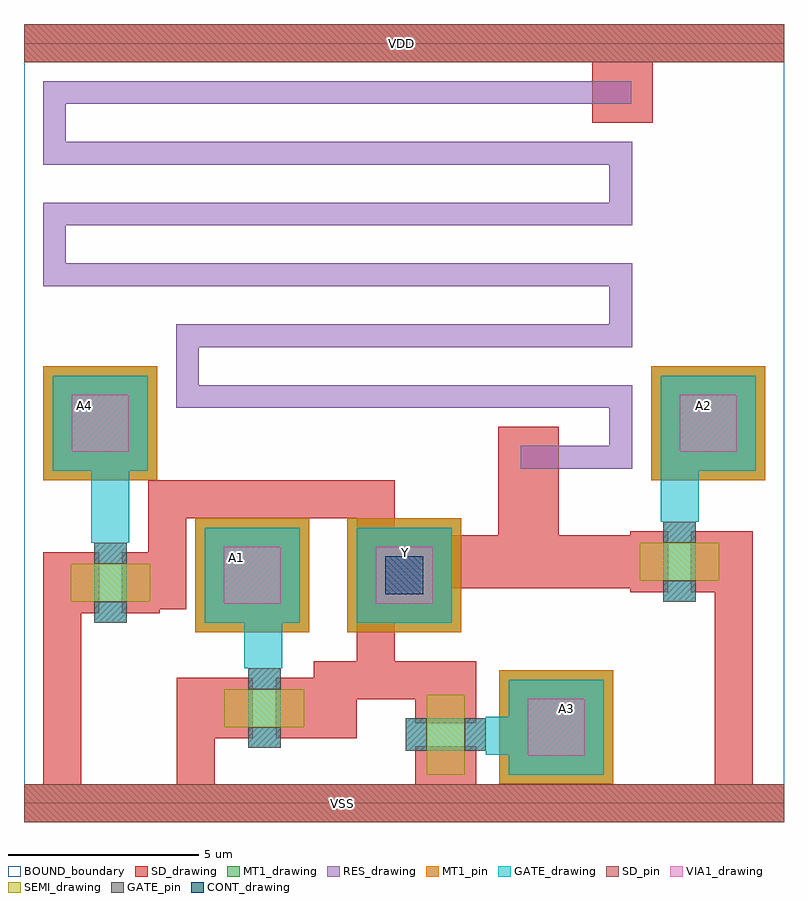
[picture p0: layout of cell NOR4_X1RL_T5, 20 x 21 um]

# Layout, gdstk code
from math import pi, radians
import gdstk
lib = gdstk.Library(unit=1e-6, precision=1e-09)
def R(c, l, rs):  # rectangles x0, y0, x1, y1
    for r in rs: c.add(gdstk.rectangle(r[:2], r[2:], *l))
def P(c, l, *ps):  # polygons
    for p in ps: c.add(gdstk.Polygon(p, *l))
RES_drawing = (1, 0)
SEMI_drawing = (3, 0)
SD_drawing = (10, 0)
SD_pin = (10, 3)
GATE_drawing = (11, 0)
GATE_pin = (11, 3)
MT1_drawing = (20, 0)
MT1_pin = (20, 3)
CONT_drawing = (30, 0)
VIA1_drawing = (41, 0)
BOUND_boundary = (150, 5)

nch_cdns_772545080480 = lib.new_cell('nch_CDNS_772545080480')
R(nch_cdns_772545080480, SEMI_drawing, [(-1.05,-0.5,1.05,0.5)])
R(nch_cdns_772545080480, SD_drawing, [(-1.3,-0.8,-0.3,0.8), (0.3,-0.8,1.3,0.8)])
R(nch_cdns_772545080480, GATE_drawing, [(-0.425,-1.05,0.425,1.05)])
R(nch_cdns_772545080480, GATE_pin, [(-0.425,-1.05,0.425,-0.5), (-0.425,0.5,0.425,1.05)])

gate_mt1_cdns_7725450804 = lib.new_cell('GATE_MT1_CDNS_772545080480')
R(gate_mt1_cdns_7725450804, GATE_drawing, [(-1.25,-1.25,1.25,1.25)])
R(gate_mt1_cdns_7725450804, MT1_drawing, [(-1.25,-1.25,1.25,1.25)])
R(gate_mt1_cdns_7725450804, VIA1_drawing, [(-0.75,-0.75,0.75,0.75)])

sd_gate_cdns_77254508048 = lib.new_cell('SD_GATE_CDNS_772545080481')
R(sd_gate_cdns_77254508048, SD_drawing, [(-1.25,-1.25,1.25,1.25)])
R(sd_gate_cdns_77254508048, GATE_drawing, [(-1.25,-1.25,1.25,1.25)])
R(sd_gate_cdns_77254508048, CONT_drawing, [(-0.5,-0.5,0.5,0.5)])

nor4_x1rl_t5 = lib.new_cell('NOR4_X1RL_T5')
R(nor4_x1rl_t5, SD_drawing, [(0,-0.5,20,0.5), (0.5,0.5,1.5,6.6), (4.025,0.5,5.025,3.3), (18.175,0.5,19.175,7.15), (7.625,1.7,8.75,3.725), (8.75,2.725,11.9,3.725), (3.275,5.1,4.275,8.5), (8.75,7.25,9.75,8.5), (3.275,7.5,9.75,8.5), (12.475,8.3,14.075,9.9), (14.95,17.9,16.55,19.5), (0,19.5,20,20.5)])
R(nor4_x1rl_t5, SD_pin, [(0,-0.5,20,0.5), (0,19.5,20,20.5)])
P(nor4_x1rl_t5, GATE_drawing, [(12.25,1.275),(12.25,2.275),(12.15,2.275),(12.15,2.175),(12.1,2.175),(12.1,1.425),(12.15,1.425),(12.15,1.275)],
  [(17.75,7.5),(16.75,7.5),(16.75,7.4),(16.875,7.4),(16.875,7.35),(17.625,7.35),(17.625,7.4),(17.75,7.4)],
  [(6.8,3.65),(5.8,3.65),(5.8,3.55),(5.95,3.55),(5.95,3.5),(6.7,3.5),(6.7,3.55),(6.8,3.55)],
  [(2.775,6.95),(1.775,6.95),(1.775,6.85),(1.9,6.85),(1.9,6.8),(2.65,6.8),(2.65,6.85),(2.775,6.85)])
R(nor4_x1rl_t5, MT1_drawing, [(12.5,0.5,15.5,3.5), (4.5,4.5,7.5,7.5), (8.5,4.5,11.5,7.5), (0.5,8.5,3.5,11.5), (16.5,8.5,19.5,11.5)])
R(nor4_x1rl_t5, MT1_pin, [(12.5,0.5,15.5,3.5), (4.5,4.5,7.5,7.5), (8.5,4.5,11.5,7.5), (0.5,8.5,3.5,11.5), (0.5,8.5,3.5,11.5), (16.5,8.5,19.5,11.5)])
R(nor4_x1rl_t5, BOUND_boundary, [(0,0,20,20)])
nor4_x1rl_t5.add(gdstk.FlexPath([(2.275,6.95),(2.275,8.75)], 1, ends="flush", simple_path=True, layer=11, datatype=0))  # GATE_drawing
nor4_x1rl_t5.add(gdstk.FlexPath([(6.3,3.65),(6.3,4.75)], 1, ends="flush", simple_path=True, layer=11, datatype=0))  # GATE_drawing
nor4_x1rl_t5.add(gdstk.FlexPath([(13.125,1.775),(12.25,1.775)], 1, ends="flush", simple_path=True, layer=11, datatype=0))  # GATE_drawing
nor4_x1rl_t5.add(gdstk.FlexPath([(17.25,7.5),(17.25,8.75)], 1, ends="flush", simple_path=True, layer=11, datatype=0))  # GATE_drawing
nor4_x1rl_t5.add(gdstk.FlexPath([(15.95,6.35),(11.25,6.35)], 1.4, ends="flush", simple_path=True, layer=10, datatype=0))  # SD_drawing
nor4_x1rl_t5.add(gdstk.FlexPath([(13.275,8.3),(13.275,7.05)], 1.6, ends="flush", simple_path=True, layer=10, datatype=0))  # SD_drawing
nor4_x1rl_t5.add(gdstk.FlexPath([(9.25,3.225),(9.25,4.75)], 1, ends=(0.5, 0), simple_path=True, layer=10, datatype=0))  # SD_drawing
nor4_x1rl_t5.add(gdstk.FlexPath([(14.975,18.7),(0.8,18.7),(0.8,17.1),(15.7,17.1),(15.7,15.5),(0.8,15.5),(0.8,13.9),(15.7,13.9),(15.7,12.3),(4.3,12.3),(4.3,10.7),(15.7,10.7),(15.7,9.1),(14.075,9.1)], 0.6, ends=(1, 1), simple_path=True, layer=1, datatype=0))  # RES_drawing
nor4_x1rl_t5.add(gdstk.Reference(nch_cdns_772545080480, (11.1,1.8), rotation=3*pi/2))
nor4_x1rl_t5.add(gdstk.Reference(nch_cdns_772545080480, (6.325,2.5)))
nor4_x1rl_t5.add(gdstk.Reference(nch_cdns_772545080480, (2.275,5.8)))
nor4_x1rl_t5.add(gdstk.Reference(nch_cdns_772545080480, (17.25,6.35), rotation=pi))
nor4_x1rl_t5.add(gdstk.Reference(gate_mt1_cdns_7725450804, (18,10)))
nor4_x1rl_t5.add(gdstk.Reference(gate_mt1_cdns_7725450804, (2,10)))
nor4_x1rl_t5.add(gdstk.Reference(gate_mt1_cdns_7725450804, (14,2)))
nor4_x1rl_t5.add(gdstk.Reference(gate_mt1_cdns_7725450804, (10,6)))
nor4_x1rl_t5.add(gdstk.Reference(gate_mt1_cdns_7725450804, (6,6)))
nor4_x1rl_t5.add(gdstk.Reference(sd_gate_cdns_77254508048, (10,6)))
nor4_x1rl_t5.add(gdstk.Label('A4', (1.6,10.45), layer=20, texttype=3))
nor4_x1rl_t5.add(gdstk.Label('A3', (14.275,2.475), layer=20, texttype=3))
nor4_x1rl_t5.add(gdstk.Label('Y', (10.05,6.6), layer=20, texttype=3))
nor4_x1rl_t5.add(gdstk.Label('A2', (17.875,10.45), layer=20, texttype=3))
nor4_x1rl_t5.add(gdstk.Label('A1', (5.6,6.45), layer=20, texttype=3))
nor4_x1rl_t5.add(gdstk.Label('VSS', (8.375,0), layer=10, texttype=3))
nor4_x1rl_t5.add(gdstk.Label('VDD', (9.925,20), layer=10, texttype=3))

lib.write_gds('NOR4_X1RL_T5.gds')
